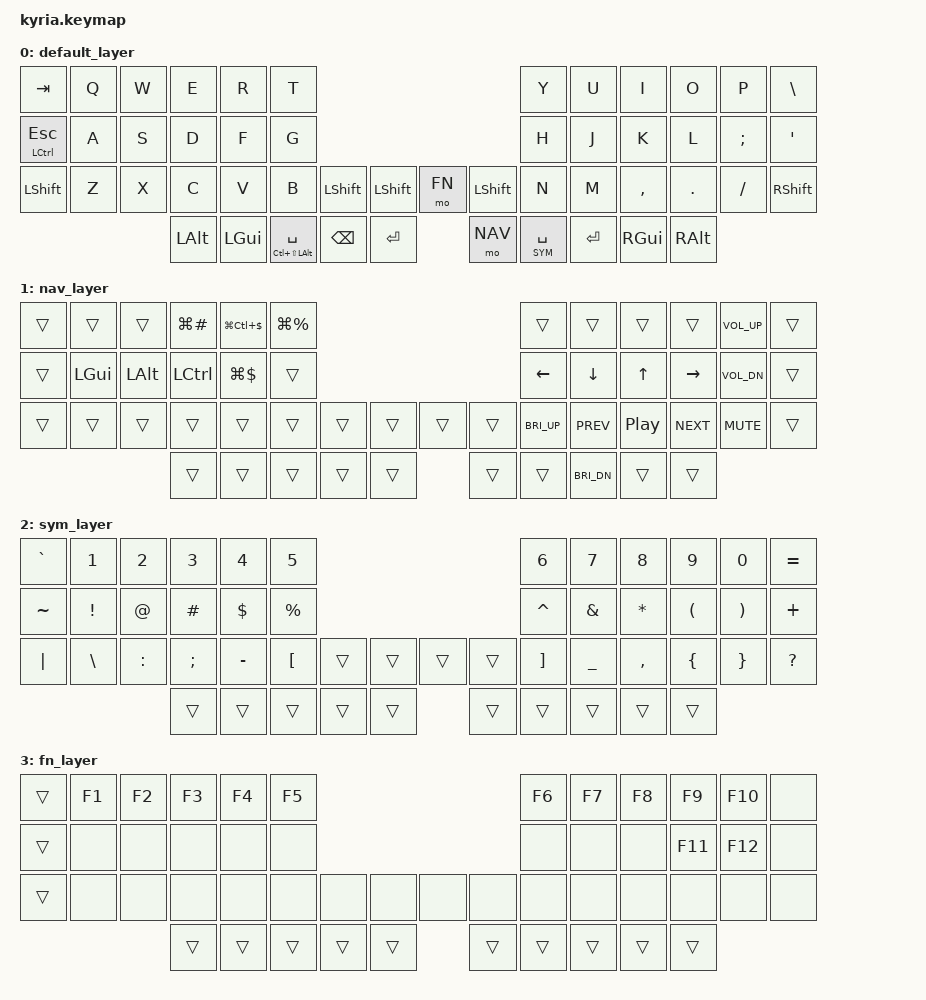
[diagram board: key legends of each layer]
/*
 * Copyright (c) 2020 The ZMK Contributors
 *
 * SPDX-License-Identifier: MIT
 */

#include <behaviors.dtsi>
#include <dt-bindings/zmk/keys.h>

#define DEFAULT 0
#define NAV   1
#define SYM   2
#define FN    3

&left_encoder {
    status = "disabled";
};

&right_encoder {
    status = "disabled";
};


/ {
	keymap {
		compatible = "zmk,keymap";

		default_layer {
			bindings = <
// +----------+----------+----------+----------+----------+----------+                                                 +----------+----------+----------+----------+----------+----------+
// |          |          |          |          |          |          |                                                 |          |          |          |          |          |          |
   &kp TAB    &kp Q      &kp W      &kp E      &kp R      &kp T                                                        &kp Y      &kp U      &kp I      &kp O      &kp P      &kp BSLH
&mt LCTRL ESC &kp A      &kp S      &kp D      &kp F      &kp G                                                        &kp H      &kp J      &kp K      &kp L      &kp SEMI   &kp SQT
   &kp LSHFT  &kp Z      &kp X      &kp C      &kp V      &kp B      &kp LSHFT  &kp LSHFT        &mo FN     &kp LSHFT  &kp N      &kp M      &kp COMMA  &kp DOT    &kp FSLH   &kp RSHFT
// +----------+----------+----------+----------+----------+----------+----------+----------+     +----------+----------+----------+----------+----------+----------+----------+----------+
                                    &kp LALT   &kp LGUI   &mt LC(LS(LALT)) SPC &kp BSPC  &kp RET          &mo NAV    &lt SYM SPC &kp RET   &kp RGUI   &kp RALT
//                                  |          |          |          |          |          |     |          |          |          |          |          |
//                                  +----------+----------+----------+----------+----------+     +----------+----------+----------+----------+----------+
			>;
		};

		nav_layer {
			bindings = <
// +----------+----------+----------+----------+----------+----------+                                                 +----------+----------+----------+----------+----------+----------+
// |          |          |          |          |          |          |                                                 |          |          |          |          |          |          |
   &trans     &trans     &trans     &kp LG(HASH) &kp LG(LC(DOLLAR))  &kp LG(PRCNT)                                     &trans     &trans     &trans     &trans     &kp C_VOL_UP  &trans
   &trans     &kp LGUI   &kp LALT   &kp LCTRL  &kp LG(DOLLAR)  &trans                                                  &kp LEFT   &kp DOWN   &kp UP     &kp RIGHT  &kp C_VOL_DN  &trans
   &trans     &trans     &trans     &trans     &trans     &trans     &trans     &trans           &trans     &trans     &kp C_BRI_UP &kp C_PREV &kp C_PP &kp C_NEXT &kp C_MUTE    &trans
// +----------+----------+----------+----------+----------+----------+----------+----------+     +----------+----------+----------+----------+----------+----------+----------+----------+
                                    &trans     &trans     &trans     &trans     &trans           &trans     &trans     &kp C_BRI_DN  &trans     &trans
//                                  |          |          |          |          |          |     |          |          |          |          |          |
//                                  +----------+----------+----------+----------+----------+     +----------+----------+----------+----------+----------+
			>;
		};

		sym_layer {
			bindings = <
// +----------+----------+----------+----------+----------+----------+                                                 +----------+----------+----------+----------+----------+----------+
// |          |          |          |          |          |          |                                                 |          |          |          |          |          |          |
   &kp GRAVE  &kp N1     &kp N2     &kp N3     &kp N4     &kp N5                                                       &kp N6     &kp N7     &kp N8     &kp N9     &kp N0     &kp EQUAL
   &kp TILDE  &kp EXCL   &kp AT     &kp HASH   &kp DOLLAR &kp PRCNT                                                    &kp CARET  &kp AMPS   &kp STAR   &kp LPAR   &kp RPAR   &kp PLUS
   &kp PIPE   &kp BSLH   &kp COLON  &kp SEMI   &kp MINUS  &kp LBKT   &trans     &trans           &trans     &trans     &kp RBKT   &kp UNDER  &kp COMMA  &kp LBRC   &kp RBRC   &kp QMARK
// +----------+----------+----------+----------+----------+----------+----------+----------+     +----------+----------+----------+----------+----------+----------+----------+----------+
                                    &trans     &trans     &trans     &trans     &trans           &trans     &trans     &trans     &trans     &trans
//                                  |          |          |          |          |          |     |          |          |          |          |          |
//                                  +----------+----------+----------+----------+----------+     +----------+----------+----------+----------+----------+
			>;
		};

		fn_layer {
			bindings = <
// +----------+----------+----------+----------+----------+----------+                                                 +----------+----------+----------+----------+----------+----------+
// |          |          |          |          |          |          |                                                 |          |          |          |          |          |          |
   &trans     &kp F1     &kp F2     &kp F3     &kp F4     &kp F5                                                       &kp F6     &kp F7     &kp F8     &kp F9     &kp F10    &none
   &trans     &none      &none      &none      &none      &none                                                        &none      &none      &none      &kp F11    &kp F12    &none
   &trans     &none      &none      &none      &none      &none      &none      &none            &none      &none      &none      &none      &none      &none      &none      &none
// +----------+----------+----------+----------+----------+----------+----------+----------+     +----------+----------+----------+----------+----------+----------+----------+----------+
                                    &trans     &trans     &trans     &trans     &trans           &trans     &trans     &trans     &trans     &trans
//                                  |          |          |          |          |          |     |          |          |          |          |          |
//                                  +----------+----------+----------+----------+----------+     +----------+----------+----------+----------+----------+
			>;
		};
	};
};
